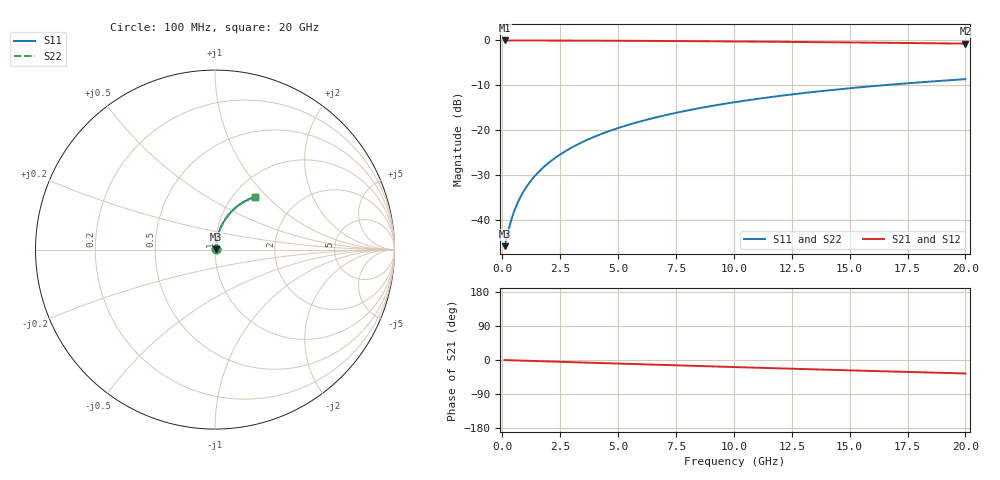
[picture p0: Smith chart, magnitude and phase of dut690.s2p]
! Touchstone file exported from HFSS 2026.1.0
!  File:  C:/ffzhzh/LocalFiles/Ansys_Project_Files/temp_train_TMRDL_690_1783010255_53980.aedt
!  Generated:  12:39:02 AM Jul  3, 2026
!  Design:  TMRDL
!  Project:  temp_train_TMRDL_690_1783010255_53980
! Variables:
!  h_bsmrdl = 2um
!  h_ox = 20um
!  h_rdl = 5um
!  h_sub = 80um
!  h_tmrdl = 2.46um
!  h_tsv = 80um
!  h_via = 3um
!  l_bsmrdl = 300um
!  l_sub = 881.71um
!  l_tmrdl = 481.71um
!  m_sub = 200um
!  pitch = 40.74um
!  r_tsv = 6um
!  s_tmrdl = 10um
!  w_bsmrdl = 18um
!  w_sub = 500um
!  w_tmrdl = 15.88um
!  x_tsv_center1 = 489.65um
!  x_tsv_center2 = 807.65um
!  x_tsv_center3 = 1305.24um
!  x_tsv_center4 = 1623.24um
!  x_tsv_center5 = 2120.83um
!  x_tsv_center6 = 2438.83um
# GHz S MA R 50.000000
! Terminal data exported
! Port[1] = TM_RDL1_1_T1
! Port[2] = TM_RDL1_1_T2
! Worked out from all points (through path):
!   200 points, 100 MHz to 20 GHz, reference 50 ohm
!   highest |S21| = -0.04 dB at 100 MHz (marker M1); lowest = -0.7 dB at 20 GHz (marker M2)
!   group delay of S21, straight-line fit = 4.95 ps
!   lowest |S11| = -45.8 dB at 100 MHz (marker M3), VSWR 1.01, Z = 50.5 + j0.23 ohm
!   |S11| at or under -10 dB: start of sweep to 16.47 GHz
!   |S22| runs from -45.8 to -8.7 dB; largest |S21 - S12| = 2.6e-15
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0.1  0.005106 26.5  0.9954 -0.2  0.9954 -0.2  0.005106 26.5
! Gamma 0 0 0 0
! Port Impedance 50 0 50 0
0.3  0.0083 54.7  0.9953 -0.6  0.9953 -0.6  0.0083 54.7
0.4  0.01025 61.0  0.9951 -0.8  0.9951 -0.8  0.01025 61.0
0.5  0.01226 65.2  0.995 -1.0  0.995 -1.0  0.01226 65.2
0.6  0.01429 68.1  0.9948 -1.2  0.9948 -1.2  0.01429 68.1
0.7  0.01633 70.2  0.9947 -1.4  0.9947 -1.4  0.01633 70.2
0.9  0.02043 73.2  0.9945 -1.7  0.9945 -1.7  0.02043 73.2
1.2  0.0266 75.8  0.9942 -2.3  0.9942 -2.3  0.0266 75.8
1.4  0.03073 76.8  0.994 -2.7  0.994 -2.7  0.03073 76.8
1.7  0.03695 77.9  0.9937 -3.3  0.9937 -3.3  0.03695 77.9
2.2  0.04736 78.8  0.9931 -4.2  0.9931 -4.2  0.04736 78.8
2.8  0.05986 79.0  0.9923 -5.3  0.9923 -5.3  0.05986 79.0
3.5  0.07443 78.6  0.9911 -6.6  0.9911 -6.6  0.07443 78.6
4.2  0.08894 78.0  0.9898 -8.0  0.9898 -8.0  0.08894 78.0
5  0.1054 77.0  0.9879 -9.5  0.9879 -9.5  0.1054 77.0
5.9  0.1237 75.7  0.9855 -11.1  0.9855 -11.1  0.1237 75.7
6.8  0.1419 74.3  0.9828 -12.8  0.9828 -12.8  0.1419 74.3
8.3  0.1714 71.9  0.9776 -15.5  0.9776 -15.5  0.1714 71.9
10.1  0.2058 68.9  0.9703 -18.8  0.9703 -18.8  0.2058 68.9
13.4  0.2653 63.4  0.9547 -24.6  0.9547 -24.6  0.2653 63.3
16.7  0.3198 57.9  0.937 -30.2  0.937 -30.2  0.3198 57.9
20  0.369 52.7  0.9181 -35.6  0.9181 -35.6  0.369 52.7
